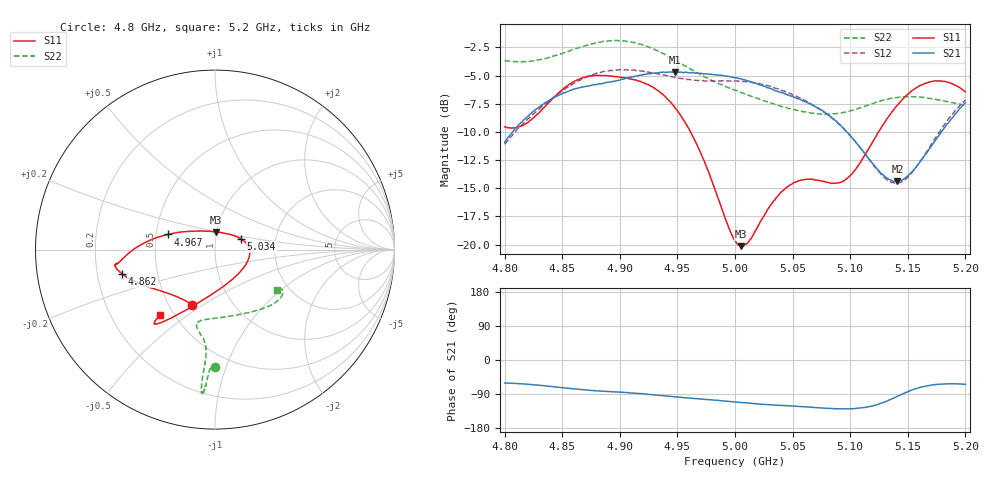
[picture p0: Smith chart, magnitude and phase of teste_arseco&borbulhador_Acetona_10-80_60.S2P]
! Network Analyzer HP8722D
! Hewlett-Packard
! Data name: Linha & Wilkinson
! Saver's name: Rodrigo Anjos
! Comments: Teste da utilização de aquisição
! continua pelo VNA HP8722D
! Time and date: 17/4/2025 14:51
!  Frequency  S11  S21  S12  S22
# HZ  S  MA R 50
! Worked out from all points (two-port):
!   401 points, 4.8 GHz to 5.2 GHz, reference 50 ohm
!   highest |S21| = -4.67 dB at 4.948 GHz (marker M1); lowest = -14.4 dB at 5.141 GHz (marker M2)
!   |S21| within 3 dB of the highest: 4.831 GHz to 5.068 GHz (236.7 MHz wide, 4.78 % of centre); 5.197577 GHz to end of sweep
!   lowest |S11| = -20.1 dB at 5.005 GHz (marker M3), VSWR 1.22, Z = 49.7 + j9.84 ohm
!   |S11| at or under -10 dB: 4.961 GHz to 5.125 GHz (163.3 MHz wide, 3.24 % of centre)
!   |S22| runs from -8.4 to -1.9 dB; largest |S21 - S12| = 0.88
!   S11 on the Smith chart (normalised r, x): 4.8 GHz: 0.65, -0.45; 4.862 GHz: 0.31, -0.12; 4.967 GHz: 0.58, +0.11; 5.034 GHz: 1.33, +0.16; 5.2 GHz: 0.42, -0.40
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4.8e9  0.3333 -113.0  0.285 -60.7  0.2785 -174.9  0.6554 -89.8
4.819e9  0.3459 -132.9  0.3667 -63.7  0.355 -173.4  0.6507 -91.5
4.862e9  0.535 -165.3  0.4933 -76.6  0.5262 -176.5  0.7414 -93.7
4.867e9  0.5478 -167.2  0.5003 -78.3  0.5428 -177.5  0.7561 -93.9
4.899e9  0.5541 -171.9  0.5362 -84.8  0.597 175.8  0.8036 -95.2
4.934e9  0.4789 -177.9  0.5796 -93.5  0.5727 172.1  0.7183 -95.6
4.948e9  0.4046 175.4  0.584 -97.3  0.5528 172.2  0.6589 -95.1
4.967e9  0.2772 162.3  0.5772 -102.0  0.5346 173.9  0.5787 -94.9
5e9  0.1045 103.5  0.5503 -110.8  0.5331 176.4  0.4845 -99.1
5.005e9  0.09835 86.4  0.5439 -112.2  0.5304 176.3  0.4733 -100.2
5.013e9  0.1051 60.9  0.5292 -114.2  0.5253 176.1  0.4575 -101.9
5.034e9  0.157 22.4  0.4833 -119.0  0.4971 175.1  0.4211 -103.5
5.05e9  0.1864 6.0  0.4552 -121.6  0.4613 174.4  0.3987 -99.7
5.067e9  0.1952 -12.4  0.4167 -124.8  0.4183 173.8  0.3832 -91.1
5.086e9  0.1874 -42.3  0.3597 -128.5  0.3581 173.8  0.3804 -76.9
5.097e9  0.1957 -65.1  0.3164 -128.9  0.3165 174.5  0.3885 -67.6
5.134e9  0.3738 -115.7  0.1945 -105.5  0.1908 -158.4  0.4439 -43.0
5.141e9  0.4161 -119.7  0.1906 -95.7  0.1874 -147.3  0.4497 -39.9
5.152e9  0.474 -124.3  0.2061 -81.1  0.2034 -130.3  0.4531 -36.0
5.17e9  0.5287 -128.3  0.2714 -66.5  0.276 -112.7  0.445 -31.8
5.184e9  0.527 -129.8  0.3424 -62.9  0.3536 -107.1  0.4315 -30.8
5.2e9  0.4765 -130.2  0.4262 -64.1  0.4386 -106.2  0.4147 -33.1
